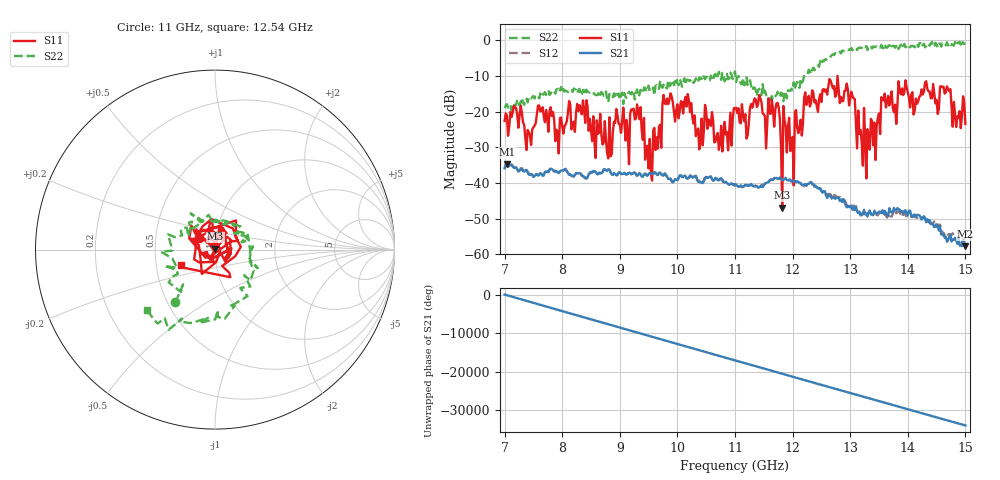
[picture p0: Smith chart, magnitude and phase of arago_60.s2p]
! 4/11/2025 3:35:30 PM
! C:\ANRITSUVNA\LELEC2350\LAB1_2025\GROUP1_60.S2P
! CHANNEL.1
! TR.MEASUREMENT
! CORRECTED.DATA
! RF.CORRECTION: FULL.TWO.PORT.CAL.PORT.1.2
! AVERAGING.OFF
! IF.BANDWIDTH: 300HZ
! SWEEPTYPE:  FREQ.SWEEP(Linear)
! Reference Plane Port Info
! PORT:  PORT1  PORT2
! DISTANCE:  0  m  0  m
! TIME:  0  s  0  s
! PHASE.OFFSET:  0 °  0 °
! LOSS:  0  dB  0  dB
! REF.LOSS:  0  dB  0  dB
! REF.FREQ:  0  Hz  0  Hz
! Power Info
! POWER:  5  dBm  5  dBm
! EFF.POWER:  5  dBm  5  dBm
# GHZ S RI R 50.0
! FREQ.GHZ  S11RE  S11IM  S21RE  S21IM  S12RE  S12IM  S22RE  S22IM
!; PortSelection: Port_12
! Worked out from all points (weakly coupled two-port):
!   401 points, 7 GHz to 15 GHz, reference 50 ohm
!   highest |S21| = -34.77 dB at 7.04 GHz (marker M1); lowest = -57.7 dB at 15 GHz (marker M2)
!   lowest |S11| = -46.9 dB at 11.82 GHz (marker M3), VSWR 1.01, Z = 50.1 + j0.441 ohm
!   |S11| at or under -10 dB: start of sweep to 12.78 GHz; 12.78 GHz to end of sweep
!   |S22| runs from -19.5 to 0.0 dB; largest |S21 - S12| = 0.001
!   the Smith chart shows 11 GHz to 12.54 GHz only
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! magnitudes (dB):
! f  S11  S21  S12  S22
! 7 GHz  -22.6  -35.9  -35.9  -18.9
! 7.04 GHz  -21.0  -34.8  -34.9  -17.9
! 7.42 GHz  -25.7  -37.6  -37.4  -16.2
! 7.62 GHz  -19.9  -37.2  -37.3  -14.9
! 7.92 GHz  -25.6  -36.9  -37.0  -13.6
! 8.34 GHz  -20.7  -37.9  -37.9  -15.1
! 8.82 GHz  -21.6  -36.3  -36.2  -15.0
! 9.22 GHz  -19.5  -37.5  -37.4  -13.9
! 9.52 GHz  -27.6  -37.2  -37.2  -14.3
! 9.68 GHz  -24.2  -37.2  -37.3  -13.6
! 9.86 GHz  -16.8  -38.8  -38.9  -12.8
! 10.68 GHz  -26.7  -38.7  -38.7  -10.8
! 11 GHz  -19.2  -40.3  -40.8  -8.7
! 11.74 GHz  -17.5  -38.8  -39.0  -14.4
! 11.82 GHz  -46.9  -39.1  -39.1  -15.0
! 12 GHz  -27.1  -39.5  -39.7  -14.0
! 12.34 GHz  -14.0  -40.2  -40.4  -8.2
! 13.04 GHz  -15.6  -47.5  -46.5  -2.8
! 13.24 GHz  -18.9  -47.5  -48.2  -1.9
! 13.68 GHz  -18.2  -47.1  -48.5  -1.3
! 14.6 GHz  -13.1  -54.4  -54.3  -0.8
! 15 GHz  -23.5  -57.7  -56.7  -0.8
